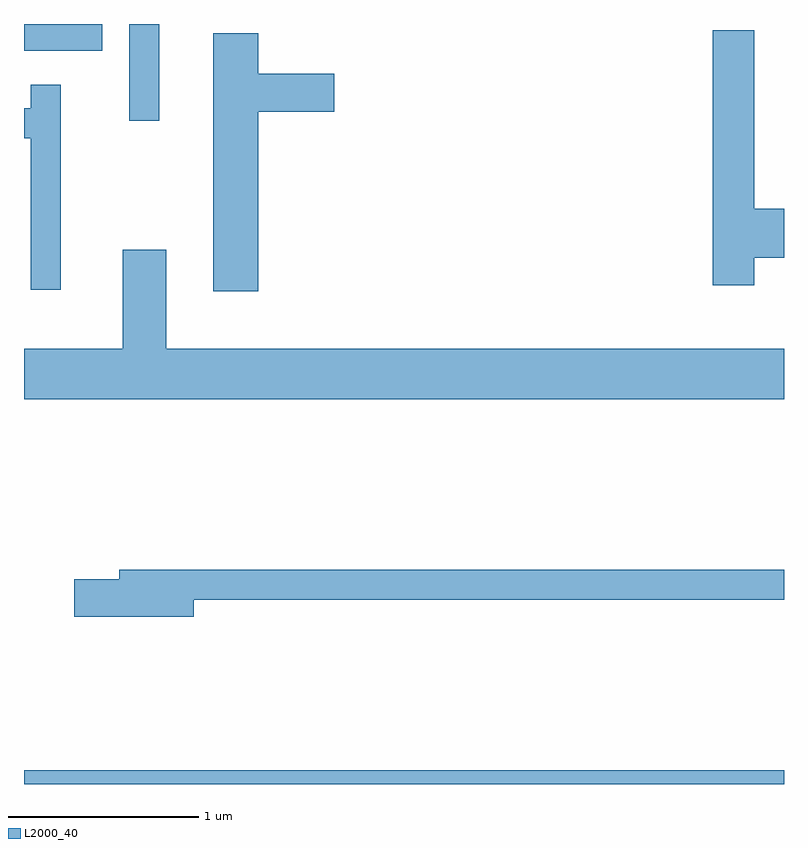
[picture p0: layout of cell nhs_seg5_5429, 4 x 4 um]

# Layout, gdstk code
import gdstk
lib = gdstk.Library(unit=1e-6, precision=1e-09)
def R(c, l, rs):  # rectangles x0, y0, x1, y1
    for r in rs: c.add(gdstk.rectangle(r[:2], r[2:], *l))
def P(c, l, *ps):  # polygons
    for p in ps: c.add(gdstk.Polygon(p, *l))
L2000_40 = (2000, 40)

nhs_seg5_5429 = lib.new_cell('nhs_seg5_5429')
R(nhs_seg5_5429, L2000_40, [(345.611,1488.072,349.611,1488.144), (346.166,1491.563,346.324,1492.072), (345.611,1491.931,346.023,1492.072)])
P(nhs_seg5_5429, L2000_40, [(349.454,1490.841),(349.611,1490.841),(349.611,1491.099),(349.454,1491.099),(349.454,1492.039),(349.236,1492.039),(349.236,1490.696),(349.454,1490.696)],
  [(346.844,1491.611),(347.244,1491.611),(347.244,1491.809),(346.844,1491.809),(346.844,1492.024),(346.606,1492.024),(346.606,1490.666),(346.844,1490.666)],
  [(345.804,1491.753),(345.646,1491.753),(345.646,1491.629),(345.611,1491.629),(345.611,1491.471),(345.646,1491.471),(345.646,1490.673),(345.804,1490.673)],
  [(349.611,1490.364),(346.359,1490.364),(346.359,1490.884),(346.131,1490.884),(346.131,1490.364),(345.611,1490.364),(345.611,1490.096),(349.611,1490.096)],
  [(346.504,1489.041),(349.611,1489.041),(349.611,1489.199),(346.111,1489.199),(346.111,1489.149),(345.876,1489.149),(345.876,1488.951),(346.504,1488.951)])

lib.write_gds('nhs_seg5_5429.gds')
